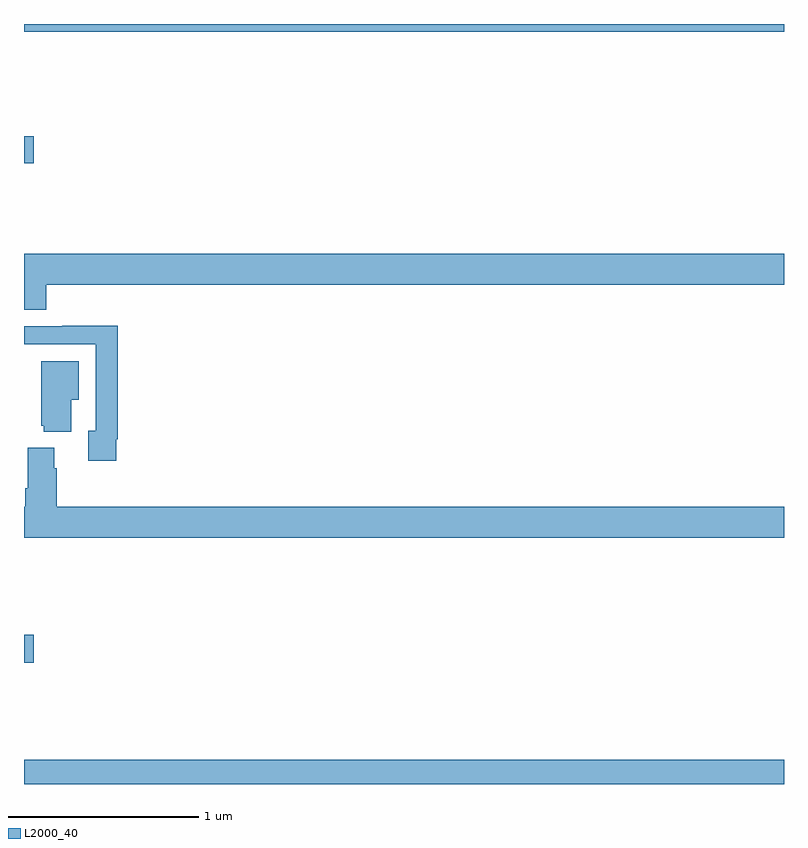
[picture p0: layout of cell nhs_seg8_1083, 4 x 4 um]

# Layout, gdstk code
import gdstk
lib = gdstk.Library(unit=1e-6, precision=1e-09)
def R(c, l, rs):  # rectangles x0, y0, x1, y1
    for r in rs: c.add(gdstk.rectangle(r[:2], r[2:], *l))
def P(c, l, *ps):  # polygons
    for p in ps: c.add(gdstk.Polygon(p, *l))
L2000_40 = (2000, 40)

nhs_seg8_1083 = lib.new_cell('nhs_seg8_1083')
R(nhs_seg8_1083, L2000_40, [(181,1085.9,185,1086.028), (181,1086.539,181.051,1086.686), (181,1089.166,181.051,1089.308), (181,1089.86,185,1089.9)])
P(nhs_seg8_1083, L2000_40, [(181.118,1088.528),(185,1088.528),(185,1088.692),(181,1088.692),(181,1088.395),(181.118,1088.395)],
  [(181.486,1087.714),(181.493,1087.714),(181.493,1088.312),(181.201,1088.312),(181.201,1088.31),(181,1088.31),(181,1088.214),(181.377,1088.214),(181.377,1087.758),(181.337,1087.758),(181.337,1087.602),(181.486,1087.602)],
  [(181.249,1087.922),(181.288,1087.922),(181.288,1088.125),(181.091,1088.125),(181.091,1087.785),(181.103,1087.785),(181.103,1087.754),(181.249,1087.754)],
  [(185,1087.36),(181.172,1087.36),(181.172,1087.562),(181.159,1087.562),(181.159,1087.669),(181.019,1087.669),(181.019,1087.456),(181.007,1087.456),(181.007,1087.36),(181,1087.36),(181,1087.196),(185,1087.196)])

lib.write_gds('nhs_seg8_1083.gds')
